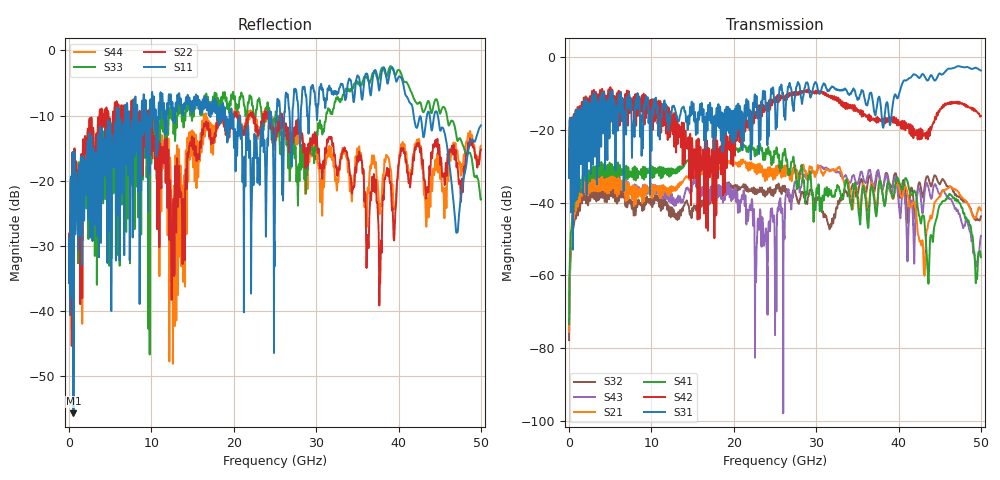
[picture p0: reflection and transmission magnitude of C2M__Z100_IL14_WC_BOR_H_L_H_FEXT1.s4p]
# GHz S MA R 50
! S-Parameters data
! Freq  magS11  angS11  magS12  angS12  magS13  angS13  magS14  angS14
!  magS21  angS21  magS22  angS22  magS23  angS23  magS24  angS24
!  magS31  angS31  magS32  angS32  magS33  angS33  magS34  angS34
!  magS41  angS41  magS42  angS42  magS43  angS43  magS44  angS44
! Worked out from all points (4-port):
!   5000 points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, 10 MHz to 50 GHz, reference 50 ohm
!   strongest paths, dB at 10 MHz, 12.51 GHz, 25.01 GHz, 37.51 GHz, 50 GHz:
!     S31: -33.2, -13.7, -13.1, -11.5, -3.7
!     S42: -33.1, -16.5, -11.6, -17.6, -16.1
!     S41: -73.2, -31.6, -26.5, -37.7, -55.0
!     S21: -75.4, -36.5, -33.2, -37.7, -42.1
!     S43: -75.5, -38.7, -76.4, -31.0, -49.1
!     S32: -77.8, -42.2, -37.3, -31.6, -43.8
!   lowest |S11| = -55.7 dB at 540 MHz (marker M1), VSWR 1.00, Z = 50.1 - j0.0845 ohm
!   |S11| at or under -10 dB: start of sweep to 5.766 GHz; 20.73 GHz to 24.26 GHz (3.532 GHz wide, 15.7 % of centre); 44.77 GHz to end of sweep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
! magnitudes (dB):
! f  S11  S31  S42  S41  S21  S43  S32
! 10 MHz  -35.7  -33.2  -33.1  -73.2  -75.4  -75.5  -77.8
! 540 MHz  -55.7  -17.5  -16.9  -42.3  -44.7  -44.3  -46.8
! 21.21 GHz  -26.6  -21.2  -19.0  -24.1  -28.7  -36.6  -35.0
! 37.76 GHz  -5.4  -11.9  -17.3  -33.8  -33.8  -34.0  -34.1
! 43.04 GHz  -13.3  -4.8  -21.6  -43.6  -56.8  -40.6  -37.4
! 47.07 GHz  -28.0  -2.6  -12.4  -39.6  -36.6  -42.3  -38.3
! 50 GHz  -11.5  -3.7  -16.1  -55.0  -42.1  -49.1  -43.8
